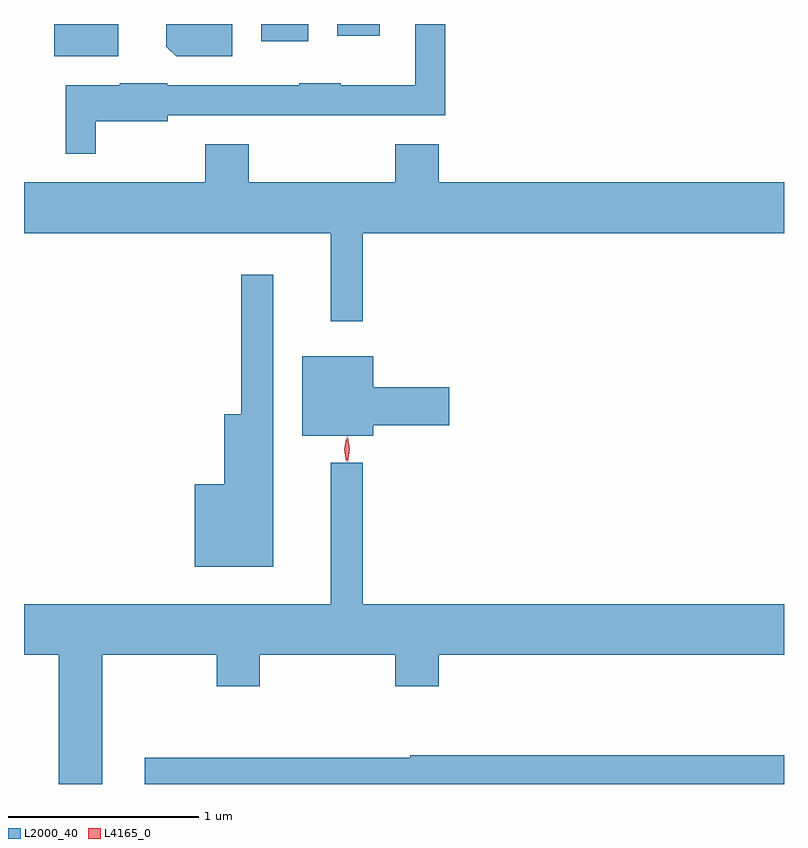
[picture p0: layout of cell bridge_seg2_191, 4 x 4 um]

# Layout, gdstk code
import gdstk
lib = gdstk.Library(unit=1e-6, precision=1e-09)
def R(c, l, rs):  # rectangles x0, y0, x1, y1
    for r in rs: c.add(gdstk.rectangle(r[:2], r[2:], *l))
def P(c, l, *ps):  # polygons
    for p in ps: c.add(gdstk.Polygon(p, *l))
L2000_40 = (2000, 40)
L4165_0 = (4165, 0)

bridge_seg2_191 = lib.new_cell('bridge_seg2_191')
R(bridge_seg2_191, L2000_40, [(817.286,1007.066,817.624,1007.237), (818.376,1007.146,818.624,1007.237), (818.776,1007.176,818.999,1007.237)])
P(bridge_seg2_191, L2000_40, [(818.224,1007.237),(817.876,1007.237),(817.876,1007.117),(817.927,1007.066),(818.224,1007.066)],
  [(817.504,1006.726),(817.884,1006.726),(817.884,1006.756),(819.344,1006.756),(819.344,1007.237),(819.186,1007.237),(819.186,1006.914),(818.795,1006.914),(818.795,1006.924),(818.575,1006.924),(818.575,1006.914),(817.88,1006.914),(817.88,1006.924),(817.63,1006.924),(817.63,1006.914),(817.346,1006.914),(817.346,1006.553),(817.504,1006.553)],
  [(818.909,1006.136),(821.127,1006.136),(821.127,1006.404),(819.309,1006.404),(819.309,1006.604),(819.081,1006.604),(819.081,1006.404),(818.309,1006.404),(818.309,1006.604),(818.081,1006.604),(818.081,1006.404),(817.127,1006.404),(817.127,1006.136),(818.741,1006.136),(818.741,1005.673),(818.909,1005.673)],
  [(818.439,1005.918),(818.271,1005.918),(818.271,1005.184),(818.181,1005.184),(818.181,1004.814),(818.026,1004.814),(818.026,1004.381),(818.439,1004.381)],
  [(818.964,1005.126),(819.364,1005.126),(819.364,1005.324),(818.964,1005.324),(818.964,1005.489),(818.591,1005.489),(818.591,1005.071),(818.964,1005.071)],
  [(817.539,1003.916),(818.141,1003.916),(818.141,1003.751),(818.369,1003.751),(818.369,1003.916),(819.081,1003.916),(819.081,1003.751),(819.309,1003.751),(819.309,1003.916),(821.127,1003.916),(821.127,1004.184),(818.909,1004.184),(818.909,1004.928),(818.741,1004.928),(818.741,1004.184),(817.127,1004.184),(817.127,1003.916),(817.311,1003.916),(817.311,1003.237),(817.539,1003.237)],
  [(821.127,1003.389),(819.16,1003.389),(819.16,1003.374),(817.763,1003.374),(817.763,1003.237),(821.127,1003.237)])
P(bridge_seg2_191, L4165_0, [(818.83,1004.93),(818.83,1004.931),(818.821,1004.998),(818.831,1005.065),(818.832,1005.066),(818.832,1005.065),(818.841,1004.998),(818.83,1004.931)],
  [(818.822,1004.934),(818.822,1004.934),(818.812,1004.997),(818.822,1005.06),(818.822,1005.06),(818.823,1005.06),(818.832,1004.997),(818.823,1004.934)])

lib.write_gds('bridge_seg2_191.gds')
